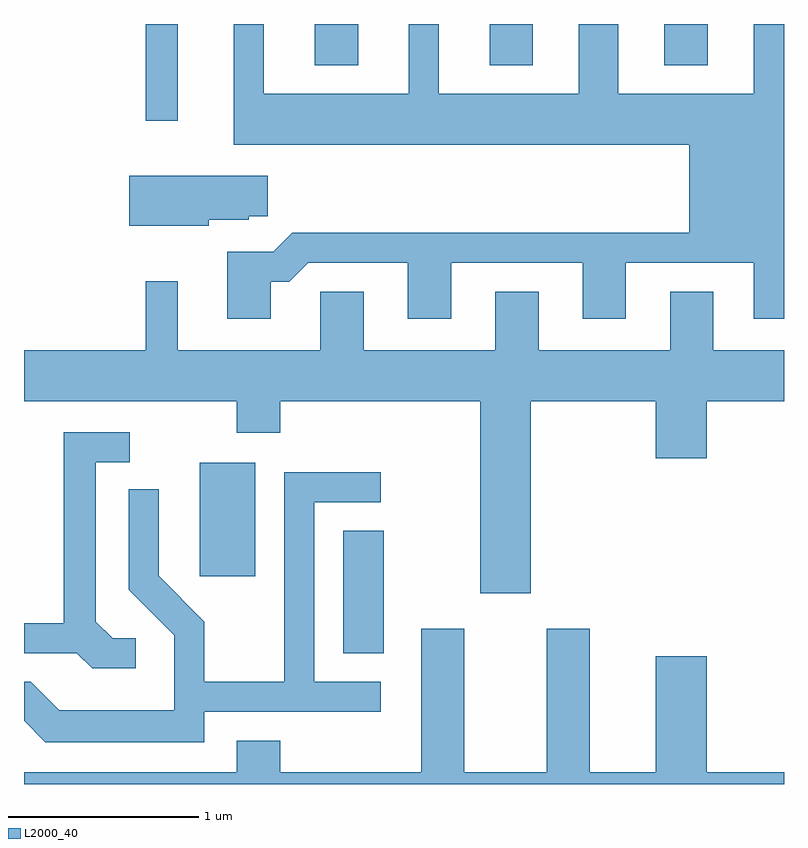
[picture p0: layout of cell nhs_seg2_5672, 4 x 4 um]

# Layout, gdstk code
import gdstk
lib = gdstk.Library(unit=1e-6, precision=1e-09)
def R(c, l, rs):  # rectangles x0, y0, x1, y1
    for r in rs: c.add(gdstk.rectangle(r[:2], r[2:], *l))
def A(c, l, x, y, w, h, nx, ny, dx, dy):  # array of equal rectangles
    R(c, l, [(x+i*dx, y+j*dy, x+i*dx+w, y+j*dy+h) for i in range(nx) for j in range(ny)])
def P(c, l, *ps):  # polygons
    for p in ps: c.add(gdstk.Polygon(p, *l))
L2000_40 = (2000, 40)

nhs_seg2_5672 = lib.new_cell('nhs_seg2_5672')
A(nhs_seg2_5672, L2000_40, 353.141, 1105.586, 0.228, 0.216, 3, 1, 0.92, 0)
R(nhs_seg2_5672, L2000_40, [(353.291,1102.491,353.504,1103.134), (352.536,1102.896,352.829,1103.494), (352.251,1105.293,352.419,1105.802)])
P(nhs_seg2_5672, L2000_40, [(352.909,1104.446),(353.007,1104.446),(353.107,1104.546),(353.631,1104.546),(353.631,1104.251),(353.859,1104.251),(353.859,1104.546),(354.551,1104.546),(354.551,1104.251),(354.779,1104.251),(354.779,1104.546),(355.451,1104.546),(355.451,1104.251),(355.611,1104.251),(355.611,1105.802),(355.451,1105.802),(355.451,1105.434),(354.739,1105.434),(354.739,1105.802),(354.531,1105.802),(354.531,1105.434),(353.794,1105.434),(353.794,1105.802),(353.636,1105.802),(353.636,1105.434),(352.874,1105.434),(352.874,1105.802),(352.716,1105.802),(352.716,1105.166),(355.111,1105.166),(355.111,1104.704),(353.024,1104.704),(352.924,1104.604),(352.681,1104.604),(352.681,1104.251),(352.909,1104.251)],
  [(352.584,1104.771),(352.794,1104.771),(352.794,1104.791),(352.894,1104.791),(352.894,1105.004),(352.166,1105.004),(352.166,1104.741),(352.584,1104.741)],
  [(354.279,1103.816),(354.936,1103.816),(354.936,1103.516),(355.204,1103.516),(355.204,1103.816),(355.611,1103.816),(355.611,1104.084),(355.239,1104.084),(355.239,1104.394),(355.011,1104.394),(355.011,1104.084),(354.319,1104.084),(354.319,1104.394),(354.091,1104.394),(354.091,1104.084),(353.399,1104.084),(353.399,1104.394),(353.171,1104.394),(353.171,1104.084),(352.419,1104.084),(352.419,1104.448),(352.251,1104.448),(352.251,1104.084),(351.611,1104.084),(351.611,1103.816),(352.731,1103.816),(352.731,1103.651),(352.959,1103.651),(352.959,1103.816),(354.011,1103.816),(354.011,1102.806),(354.279,1102.806)],
  [(352.198,1102.569),(352.077,1102.569),(351.989,1102.657),(351.989,1103.496),(352.168,1103.496),(352.168,1103.654),(351.821,1103.654),(351.821,1102.649),(351.611,1102.649),(351.611,1102.491),(351.889,1102.491),(351.969,1102.411),(352.198,1102.411)],
  [(352.559,1102.181),(353.488,1102.181),(353.488,1102.339),(353.139,1102.339),(353.139,1103.286),(353.488,1103.286),(353.488,1103.444),(352.981,1103.444),(352.981,1102.339),(352.559,1102.339),(352.559,1102.657),(352.319,1102.897),(352.319,1103.353),(352.161,1103.353),(352.161,1102.824),(352.401,1102.584),(352.401,1102.189),(351.797,1102.189),(351.647,1102.339),(351.611,1102.339),(351.611,1102.134),(351.724,1102.021),(352.559,1102.021)],
  [(355.611,1101.864),(355.204,1101.864),(355.204,1102.474),(354.936,1102.474),(354.936,1101.864),(354.589,1101.864),(354.589,1102.619),(354.361,1102.619),(354.361,1101.864),(353.929,1101.864),(353.929,1102.619),(353.701,1102.619),(353.701,1101.864),(352.959,1101.864),(352.959,1102.029),(352.731,1102.029),(352.731,1101.864),(351.611,1101.864),(351.611,1101.802),(355.611,1101.802)])

lib.write_gds('nhs_seg2_5672.gds')
